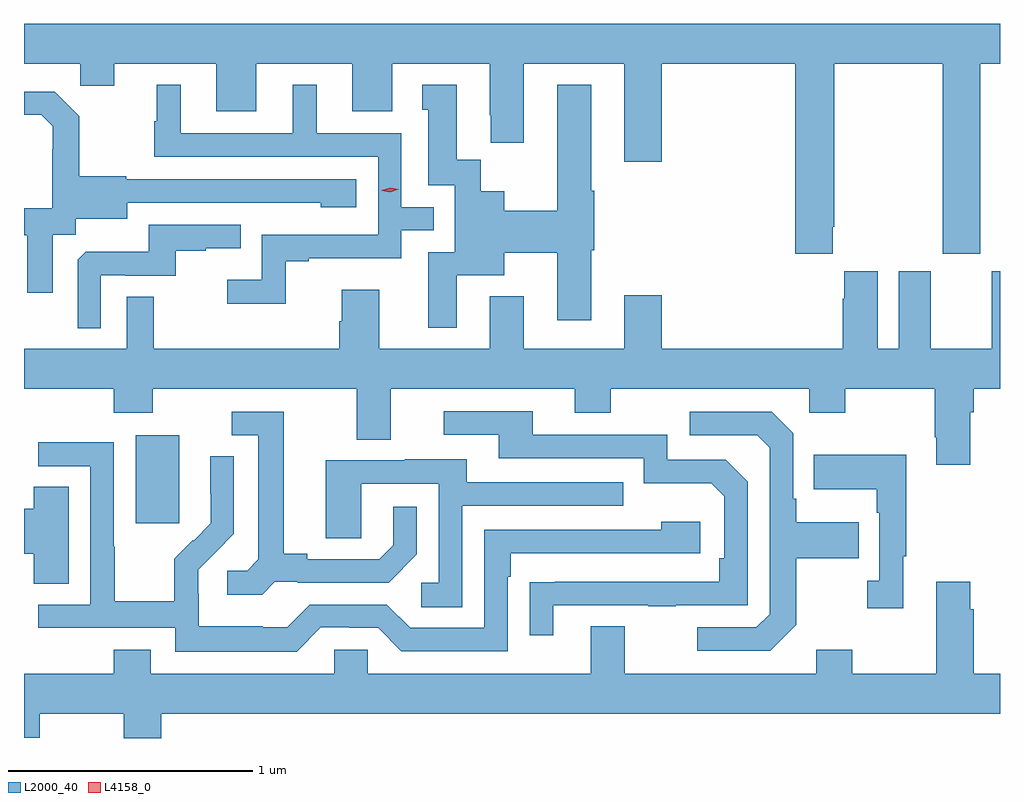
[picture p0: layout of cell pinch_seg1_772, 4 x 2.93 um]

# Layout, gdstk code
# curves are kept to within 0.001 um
import gdstk
lib = gdstk.Library(unit=1e-6, precision=1e-09)
def R(c, l, rs):  # rectangles x0, y0, x1, y1
    for r in rs: c.add(gdstk.rectangle(r[:2], r[2:], *l))
def P(c, l, *ps):  # polygons
    for p in ps: c.add(gdstk.Polygon(p, *l))
L2000_40 = (2000, 40)
L4158_0 = (4158, 0)

pinch_seg1_772 = lib.new_cell('pinch_seg1_772')
R(pinch_seg1_772, L2000_40, [(599.999,557.841,600.178,558.202)])
P(pinch_seg1_772, L2000_40, [(602.857,559.057),(602.862,559.057),(602.862,559.724),(603.307,559.724),(603.307,558.945),(603.462,558.945),(603.462,559.724),(603.542,559.724),(603.542,559.888),(599.542,559.888),(599.542,559.724),(599.773,559.724),(599.773,559.634),(599.911,559.634),(599.911,559.724),(600.329,559.724),(600.329,559.53),(600.493,559.53),(600.493,559.724),(600.887,559.724),(600.887,559.53),(601.051,559.53),(601.051,559.724),(601.451,559.724),(601.451,559.513),(601.454,559.513),(601.454,559.401),(601.591,559.401),(601.591,559.724),(602.003,559.724),(602.003,559.323),(602.156,559.323),(602.156,559.724),(602.702,559.724),(602.702,558.945),(602.857,558.945)],
  [(600.615,558.915),(600.709,558.915),(600.709,558.927),(601.089,558.927),(601.089,559.041),(601.222,559.041),(601.222,559.137),(601.089,559.137),(601.089,559.44),(600.742,559.44),(600.742,559.639),(600.644,559.639),(600.644,559.44),(600.184,559.44),(600.184,559.639),(600.086,559.639),(600.086,559.488),(600.075,559.488),(600.075,559.344),(600.993,559.344),(600.993,559.023),(600.516,559.023),(600.516,558.838),(600.375,558.838),(600.375,558.74),(600.615,558.74)],
  [(601.315,558.857),(601.51,558.857),(601.51,558.949),(601.727,558.949),(601.727,558.672),(601.867,558.672),(601.867,558.96),(601.88,558.96),(601.88,559.204),(601.867,559.204),(601.867,559.639),(601.727,559.639),(601.727,559.121),(601.51,559.121),(601.51,559.201),(601.413,559.201),(601.413,559.331),(601.315,559.331),(601.315,559.639),(601.175,559.639),(601.175,559.536),(601.199,559.536),(601.199,559.227),(601.308,559.227),(601.308,558.951),(601.199,558.951),(601.199,558.642),(601.315,558.642)],
  [(599.659,559.024),(599.754,559.024),(599.754,559.088),(599.965,559.088),(599.965,559.155),(600.759,559.154),(600.759,559.136),(600.904,559.136),(600.904,559.251),(599.961,559.251),(599.961,559.264),(599.769,559.264),(599.769,559.509),(599.669,559.609),(599.542,559.609),(599.542,559.515),(599.613,559.515),(599.66,559.468),(599.66,559.373),(599.658,559.373),(599.658,559.132),(599.542,559.132),(599.542,559.022),(599.555,559.022),(599.555,558.786),(599.659,558.786)],
  [(599.856,558.858),(599.956,558.858),(599.956,558.855),(600.164,558.855),(600.164,558.957),(600.287,558.957),(600.287,558.968),(600.431,558.968),(600.431,559.065),(600.054,559.065),(600.054,558.953),(599.795,558.953),(599.763,558.921),(599.763,558.641),(599.856,558.641)],
  [(603.421,558.296),(603.434,558.296),(603.434,558.392),(603.542,558.392),(603.542,558.874),(603.509,558.874),(603.509,558.556),(603.259,558.556),(603.259,558.874),(603.128,558.874),(603.128,558.556),(603.04,558.556),(603.04,558.874),(602.903,558.874),(602.903,558.761),(602.897,558.761),(602.897,558.556),(602.156,558.556),(602.156,558.775),(602.003,558.775),(602.003,558.556),(601.591,558.556),(601.591,558.772),(601.451,558.772),(601.451,558.556),(600.997,558.556),(600.997,558.799),(600.845,558.799),(600.845,558.669),(600.833,558.669),(600.833,558.556),(600.073,558.556),(600.073,558.77),(599.964,558.77),(599.964,558.556),(599.542,558.556),(599.542,558.392),(599.909,558.392),(599.909,558.293),(600.069,558.293),(600.069,558.392),(600.905,558.392),(600.905,558.184),(601.045,558.184),(601.045,558.392),(601.799,558.392),(601.799,558.293),(601.947,558.293),(601.947,558.392),(602.76,558.392),(602.76,558.293),(602.907,558.293),(602.907,558.392),(603.274,558.392),(603.274,558.193),(603.281,558.193),(603.281,558.081),(603.421,558.081)],
  [(601.711,557.505),(602.101,557.505),(602.101,557.5),(602.213,557.5),(602.213,557.505),(602.508,557.505),(602.508,558.012),(602.418,558.102),(602.178,558.102),(602.178,558.204),(601.627,558.204),(601.627,558.3),(601.263,558.3),(601.263,558.204),(601.487,558.204),(601.487,558.108),(602.082,558.108),(602.082,558.005),(602.359,558.005),(602.412,557.952),(602.412,557.698),(602.392,557.698),(602.392,557.601),(601.615,557.6),(601.615,557.382),(601.711,557.382)],
  [(602.707,557.425),(602.707,557.698),(602.963,557.698),(602.963,557.845),(602.707,557.845),(602.707,557.941),(602.694,557.941),(602.694,558.21),(602.607,558.297),(602.271,558.297),(602.271,558.201),(602.547,558.201),(602.598,558.15),(602.598,557.469),(602.544,557.415),(602.301,557.415),(602.301,557.319),(602.601,557.319)],
  [(600.57,557.601),(600.664,557.601),(600.664,557.598),(601.036,557.598),(601.152,557.714),(601.152,557.908),(601.055,557.908),(601.055,557.751),(600.998,557.694),(600.703,557.694),(600.703,557.717),(600.607,557.717),(600.607,558.297),(600.393,558.297),(600.393,558.201),(600.503,558.201),(600.503,557.693),(600.456,557.646),(600.375,557.646),(600.375,557.549),(600.518,557.549)],
  [(600.759,557.415),(600.875,557.415),(600.875,557.412),(600.993,557.412),(601.089,557.316),(601.524,557.316),(601.524,557.621),(601.537,557.621),(601.537,557.718),(602.314,557.718),(602.314,557.848),(602.153,557.848),(602.153,557.814),(601.428,557.814),(601.428,557.412),(601.125,557.412),(601.029,557.508),(600.714,557.508),(600.621,557.415),(600.521,557.415),(600.521,557.419),(600.258,557.419),(600.258,557.553),(600.256,557.553),(600.256,557.65),(600.402,557.798),(600.402,558.116),(600.306,558.116),(600.306,557.962),(600.308,557.962),(600.308,557.84),(600.237,557.769),(600.234,557.772),(600.157,557.695),(600.157,557.521),(599.913,557.521),(599.913,557.744),(599.91,557.744),(599.91,558.174),(599.601,558.174),(599.601,558.075),(599.814,558.075),(599.814,557.508),(599.601,557.508),(599.601,557.412),(600.162,557.412),(600.162,557.315),(600.659,557.315)],
  [(603.145,557.705),(603.157,557.705),(603.157,558.121),(602.779,558.121),(602.779,557.981),(603.036,557.981),(603.036,557.885),(603.048,557.885),(603.048,557.606),(602.997,557.606),(602.997,557.493),(603.145,557.493)],
  [(601.338,557.913),(601.997,557.913),(601.997,558.009),(601.357,558.009),(601.357,558.103),(601.103,558.103),(601.103,558.099),(600.779,558.099),(600.779,557.779),(600.924,557.779),(600.924,558.003),(601.242,558.003),(601.242,557.598),(601.17,557.598),(601.17,557.497),(601.338,557.497)],
  [(599.725,557.99),(599.582,557.99),(599.582,557.9),(599.542,557.9),(599.542,557.717),(599.582,557.717),(599.582,557.593),(599.725,557.593)],
  [(600.104,557.06),(603.542,557.06),(603.542,557.224),(603.434,557.224),(603.434,557.489),(603.421,557.489),(603.421,557.602),(603.281,557.602),(603.281,557.224),(602.937,557.224),(602.937,557.323),(602.789,557.323),(602.789,557.224),(602.005,557.224),(602.005,557.419),(601.865,557.419),(601.865,557.224),(600.951,557.224),(600.951,557.322),(600.813,557.322),(600.813,557.224),(600.061,557.224),(600.061,557.323),(599.909,557.323),(599.909,557.224),(599.542,557.224),(599.542,556.961),(599.607,556.961),(599.607,557.06),(599.951,557.06),(599.951,556.96),(600.104,556.96)])
P(pinch_seg1_772, L4158_0, [(601.044,559.197),(601.009,559.204),(601.008,559.204),(601.009,559.205),(601.042,559.217),(601.077,559.21),(601.078,559.21),(601.077,559.21)])

lib.write_gds('pinch_seg1_772.gds')
